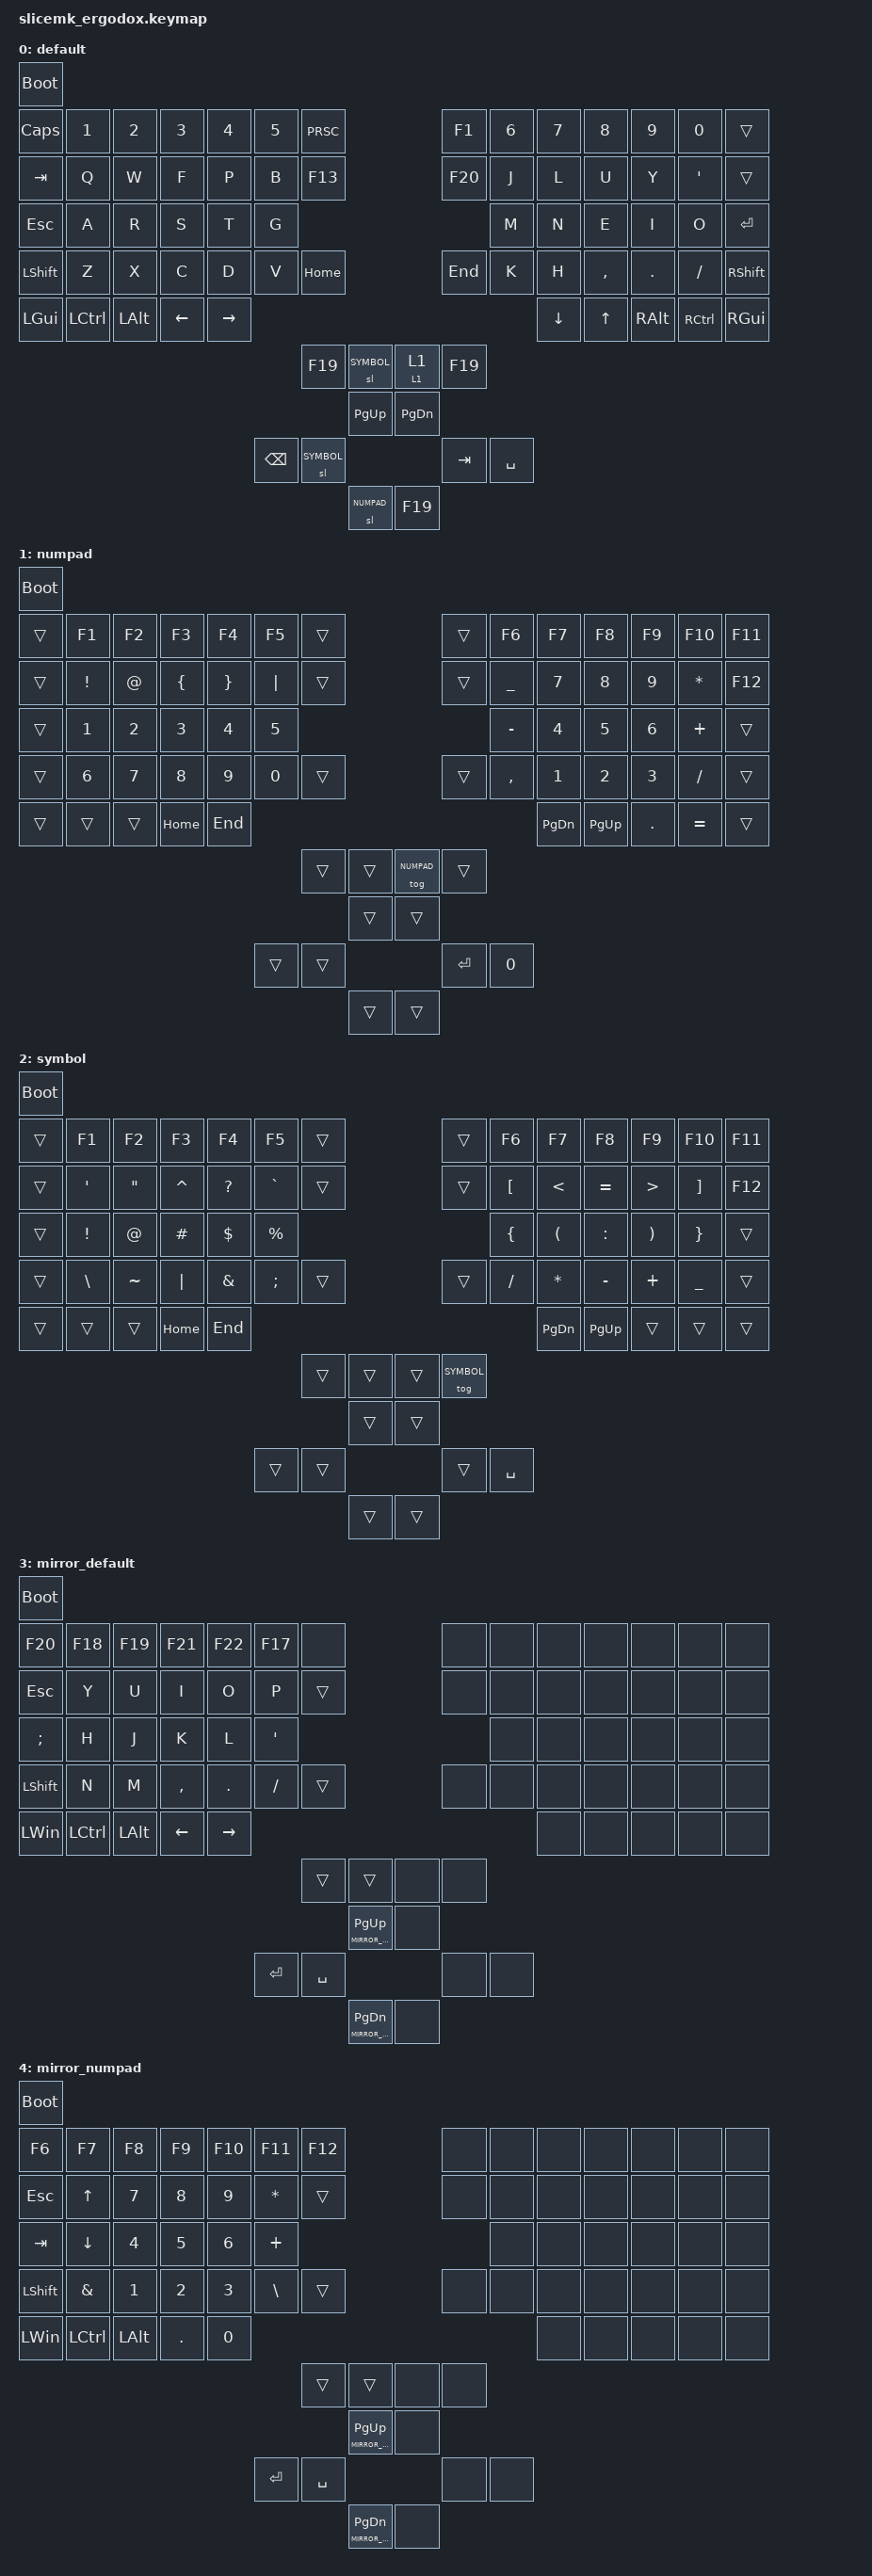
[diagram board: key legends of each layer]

#define DEFAULT 0
#define NUMPAD 1
#define SYMBOL 2
#define MIRROR_DEFAULT 3
#define MIRROR_NUMPAD  4

#include <behaviors.dtsi>
#include <dt-bindings/zmk/bt.h>
#include <dt-bindings/zmk/keys.h>
#include <dt-bindings/zmk/outputs.h>

/ {
behaviors {
ls:tap_layers{
  compatible = "zmk,behavior-hold-tap";
  label="tap_layers2";
  tapping-term-ms = <150>;
  #binding-cells = <2>;
  quick_tap_ms = <0>;
  flavor = "tap-preferred";
  bindings = <&mo>,<&tog>;
};
lto:hold_layer{
  compatible = "zmk,behavior-hold-tap";
  label="hold_layer";
  tapping-term-ms = <500>;
  #binding-cells = <2>;
  quick_tap_ms = <0>;
  flavor = "tap-preferred";
  bindings = <&tog>,<&kp>;
};
};
        keymap {
                compatible = "zmk,keymap";

                default {
                        bindings = <
    &bootloader
    &kp CAPS   &kp NUM_1   &kp NUM_2  &kp NUM_3  &kp NUM_4  &kp NUM_5  &kp PRSC                                      &kp F1     &kp NUM_6 &kp NUM_7   &kp NUM_8  &kp NUM_9  &kp NUM_0  &trans
    &kp TAB    &kp Q       &kp W      &kp F      &kp P      &kp B      &kp F13                                       &kp F20    &kp J     &kp L       &kp U      &kp Y      &kp APOS   &trans
    &kp ESC    &kp A       &kp R      &kp S      &kp T      &kp G                                                               &kp M     &kp N       &kp E      &kp I      &kp O      &kp RET
    &kp LSHFT  &kp Z       &kp X      &kp C      &kp D      &kp V      &kp HOME                                      &kp END    &kp K     &kp H       &kp CMMA   &kp DOT    &kp FSLH   &kp RSHFT
    &kp LGUI   &kp LCTRL   &kp LALT   &kp LEFT   &kp RIGHT                                                                                &kp DOWN    &kp UP     &kp RALT   &kp RCTRL  &kp RGUI
                                                                       &kp F19    &sl SYMBOL                 &ls 1 1    &kp F19
                                                                                  &kp PG_UP                  &kp PG_DN
                                                             &kp BSPC  &sl SYMBOL                                       &kp TAB     &kp SPACE
                                                                                  &sl NUMPAD                 &kp F19 
                        >;
                };

                numpad {
                        bindings = <
    &bootloader
    &trans   &kp F1     &kp F2     &kp F3     &kp F4     &kp F5     &trans                         &trans   &kp F6     &kp F7     &kp F8     &kp F9     &kp F10    &kp F11
    &trans   &kp EXCL   &kp AT     &kp LBRC   &kp RBRC   &kp PIPE   &trans                         &trans   &kp UNDER  &kp NUM_7  &kp NUM_8  &kp NUM_9  &kp ASTRK  &kp F12
    &trans   &kp NUM_1  &kp NUM_2  &kp NUM_3  &kp NUM_4  &kp NUM_5                                          &kp MINUS  &kp NUM_4  &kp NUM_5  &kp NUM_6  &kp PLUS   &trans
    &trans   &kp NUM_6  &kp NUM_7  &kp NUM_8  &kp NUM_9  &kp NUM_0  &trans                         &trans   &kp CMMA   &kp NUM_1  &kp NUM_2  &kp NUM_3  &kp FSLH   &trans    
    &trans   &trans     &trans     &kp HOME   &kp END                                                                  &kp PG_DN  &kp PG_UP  &kp DOT    &kp EQUAL  &trans
                                                                   &trans &trans      &tog NUMPAD &trans
                                                                          &trans      &trans
                                                        &trans     &trans                         &kp RET  &kp NUM_0
                                                                          &trans      &trans
                        >;
                };

                symbol {
                        bindings = <
    &bootloader
    &trans   &kp F1     &kp F2     &kp F3     &kp F4     &kp F5     &trans                         &trans   &kp F6     &kp F7     &kp F8     &kp F9     &kp F10    &kp F11
    &trans   &kp SQT    &kp DQT    &kp CARET  &kp QMARK  &kp GRAVE  &trans                         &trans   &kp LBKT   &kp LT     &kp EQUAL  &kp GT     &kp RBKT   &kp F12
    &trans   &kp EXCL   &kp AT     &kp HASH   &kp DLLR   &kp PRCNT                                          &kp LBRC   &kp LPAR   &kp COLON  &kp RPAR   &kp RBRC   &trans
    &trans   &kp BSLH   &kp TILDE  &kp PIPE   &kp AMPS   &kp SEMI   &trans                         &trans   &kp FSLH   &kp ASTRK  &kp MINUS  &kp PLUS   &kp UNDER  &trans    
    &trans   &trans     &trans     &kp HOME   &kp END                                                                  &kp PG_DN  &kp PG_UP  &trans     &trans     &trans
                                                                &trans  &trans     &trans  &tog SYMBOL
                                                                        &trans     &trans
                                                       &trans   &trans                     &trans   &kp SPACE
                                                                        &trans     &trans
                        >;
                };
                mirror_default {
                        bindings = <
    &bootloader
    &kp F20    &kp F18    &kp F19    &kp F21    &kp F22    &kp F17    &none                                        &none    &none   &none   &none   &none   &none   &none
    &kp ESC    &kp Y      &kp U      &kp I      &kp O      &kp P      &trans                                       &none    &none   &none   &none   &none   &none   &none
    &kp SCLN   &kp H      &kp J      &kp K      &kp L      &kp SINGLE_QUOTE                                                 &none   &none   &none   &none   &none   &none
    &kp LSHFT  &kp N      &kp M      &kp CMMA   &kp DOT    &kp FSLH   &trans                                       &none    &none   &none   &none   &none   &none   &none
    &kp LWIN   &kp LCTRL  &kp LALT   &kp LEFT   &kp RIGHT                                                                           &none   &none   &none   &none   &none
                                                                      &trans     &trans                      &none &none
                                                                                 &lto MIRROR_DEFAULT PG_UP   &none
                                                          &kp RETURN  &kp SPACE                                    &none    &none
                                                                                 &lto MIRROR_NUMPAD PG_DN    &none
                        >;
                };
                mirror_numpad {
                        bindings = <
    &bootloader
    &kp F6     &kp F7     &kp F8     &kp F9     &kp F10    &kp F11    &kp F12                                      &none    &none   &none   &none   &none   &none   &none
    &kp ESC    &kp UP     &kp NUM_7  &kp NUM_8  &kp NUM_9  &kp ASTRK  &trans                                       &none    &none   &none   &none   &none   &none   &none
    &kp TAB    &kp DOWN   &kp NUM_4  &kp NUM_5  &kp NUM_6  &kp PLUS                                                         &none   &none   &none   &none   &none   &none
    &kp LSHFT  &kp AMPS   &kp NUM_1  &kp NUM_2  &kp NUM_3  &kp BSLH   &trans                                       &none    &none   &none   &none   &none   &none   &none
    &kp LWIN   &kp LCTRL  &kp LALT   &kp DOT    &kp NUM_0                                                                           &none   &none   &none   &none   &none
                                                                      &trans     &trans                      &none &none
                                                                                 &lto MIRROR_DEFAULT PG_UP   &none
                                                          &kp RETURN  &kp SPACE                                    &none    &none
                                                                                 &lto MIRROR_NUMPAD PG_DN    &none
                        >;
                };


        };
};
